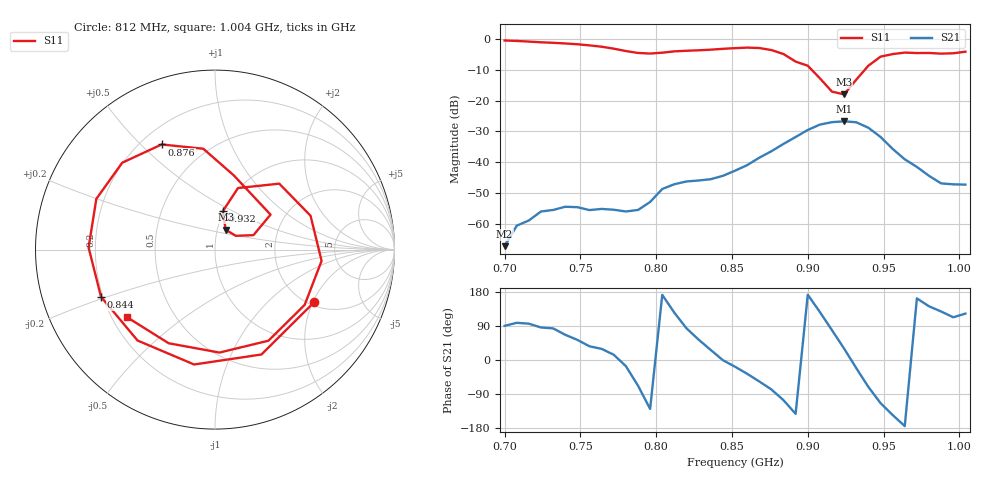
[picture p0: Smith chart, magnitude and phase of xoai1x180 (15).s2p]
# Hz S RI R 50
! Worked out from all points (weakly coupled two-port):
!   39 points, 700 MHz to 1.004 GHz, reference 50 ohm
!   highest |S21| = -26.74 dB at 924 MHz (marker M1); lowest = -67.2 dB at 700 MHz (marker M2)
!   lowest |S11| = -18.0 dB at 924 MHz (marker M3), VSWR 1.29, Z = 54.9 + j12.3 ohm
!   |S11| at or under -10 dB: 902.5 MHz to 937.8 MHz (35.27 MHz wide, 3.83 % of centre)
!   S12 and S22 are empty: the file has one direction only
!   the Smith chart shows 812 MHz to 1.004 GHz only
!   S11 on the Smith chart (normalised r, x): 812 MHz: 2.13, -2.05; 844 MHz: 0.19, -0.19; 876 MHz: 0.28, +0.58; 932 MHz: 0.99, +0.44; 1.004 GHz: 0.26, -0.32
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7e8  0.7601 0.551  -1.22e-06 0.000437  0 0  0 0
7.24e8  0.8405 -0.247  0.000116 0.00159  0 0  0 0
7.4e8  0.4566 -0.7043  0.000758 0.00174  0 0  0 0
7.56e8  -0.1924 -0.7575  0.00136 0.000991  0 0  0 0
7.72e8  -0.6625 -0.1973  0.00165 0.000408  0 0  0 0
7.8e8  -0.5905 0.2266  0.00153 -0.000443  0 0  0 0
7.88e8  -0.238 0.539  0.000641 -0.00156  0 0  0 0
7.96e8  0.2502 0.5189  -0.00143 -0.00176  0 0  0 0
8.04e8  0.5724 0.1626  -0.00365 0.000524  0 0  0 0
8.12e8  0.5526 -0.293  -0.00251 0.00362  0 0  0 0
8.28e8  -0.1164 -0.6401  0.00299 0.00408  0 0  0 0
8.44e8  -0.6351 -0.2628  0.00602 -4.71e-05  0 0  0 0
8.52e8  -0.7043 0.0116  0.00695 -0.00222  0 0  0 0
8.76e8  -0.2971 0.5857  0.00321 -0.0147  0 0  0 0
9e8  0.3095 0.1948  -0.033 0.00447  0 0  0 0
9.08e8  0.2142 0.0805  -0.0243 0.0327  0 0  0 0
9.24e8  0.0598 0.1105  0.0399 0.023  0 0  0 0
9.32e8  0.0428 0.2132  0.0414 -0.0162  0 0  0 0
9.48e8  0.358 0.3674  -0.0103 -0.0236  0 0  0 0
9.56e8  0.5325 0.1885  -0.0135 -0.00941  0 0  0 0
9.8e8  0.2977 -0.5076  -0.00472 0.00374  0 0  0 0
1.004e9  -0.488 -0.3781  -0.00233 0.00366  0 0  0 0
